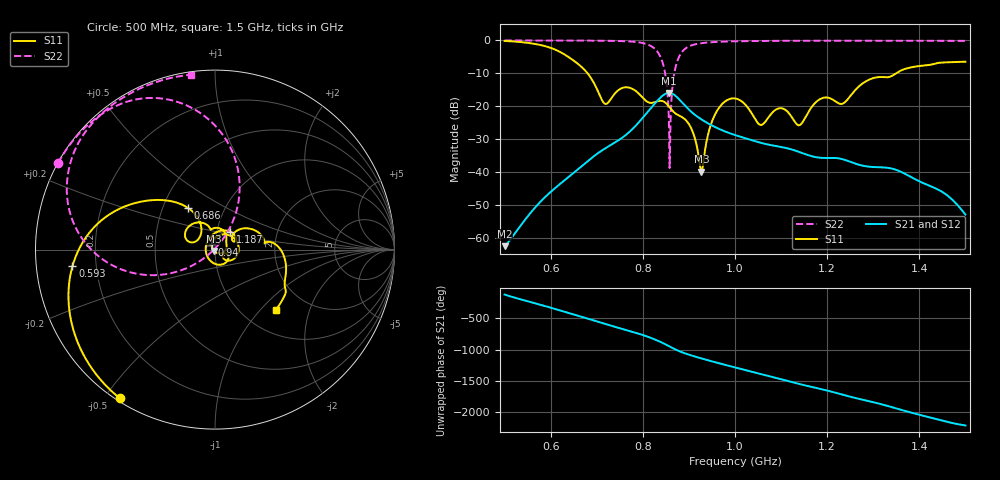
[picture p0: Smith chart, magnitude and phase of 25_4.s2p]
! TOUCHSTONE file generated by CST MICROWAVE STUDIO
! Date and time: Fri Oct  2 16:58:05 2020
! Project name: Scenario_1_Free_Space_out_of_line.cst
! Parameters = {Lambda=346.42; Step_1=17.321; dy1=-68.544; dx1=693; L_HA=400; MT=2.54; Rad_Dielectric=30; Rad_Lower=7.3; Rad_Upper=30; a_HA=580; a_WG=246; b_HA=500; b_WG=121; c_HA=0; c_WG=187; d_feed=85; h_feed=15; h_lower=18; h_upper=40}
! Header version: 2018
! Port assignment regex: !\s*Touchstone port\s*([0-9]+)\s*=\s*(CST MWS port|CST DS port)\s*([0-9]+|Zmin|Zmax)\s*\(\"(.*)\"\)(\s*mode\s*([0-9]+))?.*
! Touchstone port assignment:
! Touchstone port 1 = CST MWS port 1 ("")
! Touchstone port 2 = CST MWS port 2 ("")
# GHz S DB R 50
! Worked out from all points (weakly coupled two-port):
!   1003 points, 500 MHz to 1.5 GHz, reference 50 ohm
!   highest |S21| = -15.89 dB at 857 MHz (marker M1); lowest = -62.3 dB at 500 MHz (marker M2)
!   lowest |S11| = -39.8 dB at 927 MHz (marker M3), VSWR 1.02, Z = 49.3 - j0.684 ohm
!   |S11| at or under -10 dB: 680.2 MHz to 1.349 GHz (668.6 MHz wide, 65.9 % of centre)
!   |S22| runs from -38.7 to 0.0 dB; largest |S21 - S12| = 1.8e-05
!   S11 on the Smith chart (normalised r, x): 500 MHz: 0.01, -0.55; 593 MHz: 0.11, -0.06; 686 MHz: 0.67, +0.34; 940 MHz: 0.96, +0.06; 1.187 GHz: 1.16, +0.24; 1.5 GHz: 1.41, -1.22
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0.5  -0.15 -122.6  -62.34 -116.4  -62.34 -116.4  -0.01 151.1
0.593  -1.94 -173.3  -46.79 48.2  -46.79 48.2  -0.02 144.6
0.667  -8.03 136.0  -38.11 -112.7  -38.11 -112.7  -0.04 138.3
0.686  -11.09 123.1  -35.93 -154.9  -35.93 -154.9  -0.06 136.3
0.718  -19.21 141.5  -32.73 132.6  -32.73 132.6  -0.10 132.4
0.763  -14.19 142.6  -28.65 36.4  -28.65 36.4  -0.25 124.6
0.834  -18.35 89.5  -17.89 -141.7  -17.89 -141.7  -3.89 86.0
0.848  -18.77 66.2  -16.26 169.0  -16.26 169.0  -9.66 65.7
0.857  -20.05 51.3  -15.89 134.5  -15.89 134.5  -26.98 53.3
0.878  -22.71 29.2  -17.75 58.9  -17.75 58.9  -5.13 -169.5
0.906  -26.93 -22.3  -21.74 -15.0  -21.74 -15.0  -1.47 164.5
0.927  -39.81 -137.2  -23.92 -60.7  -23.92 -60.7  -0.84 155.1
0.94  -29.42 122.0  -25.01 -87.7  -25.01 -87.7  -0.64 151.2
0.965  -20.47 63.0  -26.79 -137.8  -26.79 -137.8  -0.41 145.6
1  -17.58 -1.6  -28.66 154.5  -28.66 154.5  -0.26 140.1
1.056  -25.61 -31.8  -31.02 48.2  -31.02 48.2  -0.16 133.7
1.099  -20.52 -50.3  -32.24 -32.4  -32.24 -32.4  -0.12 129.7
1.14  -25.68 176.3  -33.83 -111.6  -33.83 -111.6  -0.10 126.2
1.167  -20.07 83.3  -35.10 -159.3  -35.10 -159.3  -0.09 124.1
1.187  -17.61 49.6  -35.58 167.1  -35.58 167.1  -0.09 122.5
1.334  -11.11 7.4  -38.65 -108.6  -38.65 -108.6  -0.09 111.3
1.5  -6.44 -44.5  -52.75 -55.9  -52.75 -56.3  -0.14 97.8
